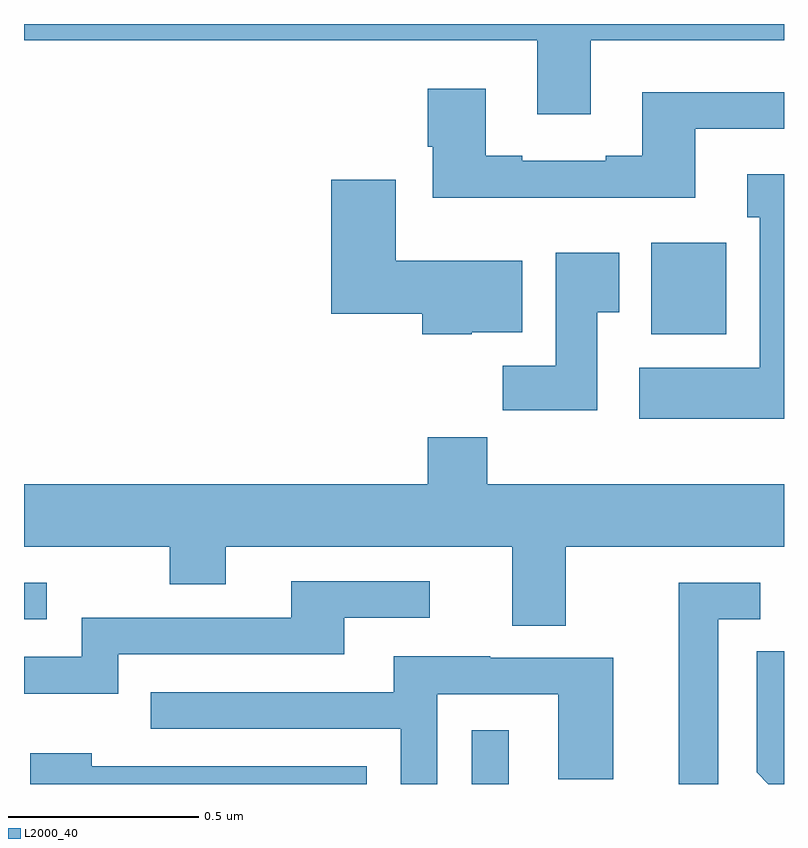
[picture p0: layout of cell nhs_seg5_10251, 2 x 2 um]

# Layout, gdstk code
import gdstk
lib = gdstk.Library(unit=1e-6, precision=1e-09)
def R(c, l, rs):  # rectangles x0, y0, x1, y1
    for r in rs: c.add(gdstk.rectangle(r[:2], r[2:], *l))
def P(c, l, *ps):  # polygons
    for p in ps: c.add(gdstk.Polygon(p, *l))
L2000_40 = (2000, 40)

nhs_seg5_10251 = lib.new_cell('nhs_seg5_10251')
R(nhs_seg5_10251, L2000_40, [(245.178,858.799,245.275,858.94), (244,859.233,244.06,859.329), (245.651,859.982,245.848,860.224)])
P(nhs_seg5_10251, L2000_40, [(245.491,860.756),(246,860.756),(246,860.799),(244,860.799),(244,860.756),(245.351,860.756),(245.351,860.562),(245.491,860.562)],
  [(245.767,860.523),(246,860.523),(246,860.62),(245.627,860.62),(245.627,860.452),(245.531,860.452),(245.531,860.439),(245.311,860.439),(245.311,860.452),(245.215,860.452),(245.215,860.629),(245.063,860.629),(245.063,860.476),(245.075,860.476),(245.075,860.342),(245.767,860.342)],
  [(246,860.404),(245.903,860.404),(245.903,860.291),(245.936,860.291),(245.936,859.894),(245.619,859.894),(245.619,859.76),(246,859.76)],
  [(245.178,859.988),(245.311,859.988),(245.311,860.176),(244.978,860.176),(244.978,860.389),(244.808,860.389),(244.808,860.036),(245.048,860.036),(245.048,859.982),(245.178,859.982)],
  [(245.509,860.041),(245.566,860.041),(245.566,860.197),(245.399,860.197),(245.399,859.9),(245.26,859.9),(245.26,859.782),(245.509,859.782)],
  [(245.425,859.424),(246,859.424),(246,859.588),(245.219,859.588),(245.219,859.712),(245.063,859.712),(245.063,859.588),(244,859.588),(244,859.424),(244.384,859.424),(244.384,859.325),(244.531,859.325),(244.531,859.424),(245.285,859.424),(245.285,859.216),(245.425,859.216)],
  [(244.248,859.14),(244.843,859.14),(244.843,859.236),(245.068,859.236),(245.068,859.332),(244.703,859.332),(244.703,859.236),(244.152,859.236),(244.152,859.134),(244,859.134),(244,859.037),(244.248,859.037)],
  [(245.827,859.233),(245.938,859.233),(245.938,859.329),(245.723,859.329),(245.723,858.799),(245.827,858.799)],
  [(246,859.148),(245.928,859.148),(245.928,858.83),(245.959,858.799),(246,858.799)],
  [(245.088,859.035),(245.406,859.035),(245.406,858.811),(245.551,858.811),(245.551,859.131),(245.227,859.131),(245.227,859.135),(244.973,859.135),(244.973,859.041),(244.333,859.041),(244.333,858.945),(244.992,858.945),(244.992,858.799),(245.088,858.799)],
  [(244.902,858.846),(244.178,858.846),(244.178,858.88),(244.017,858.88),(244.017,858.799),(244.902,858.799)])

lib.write_gds('nhs_seg5_10251.gds')
